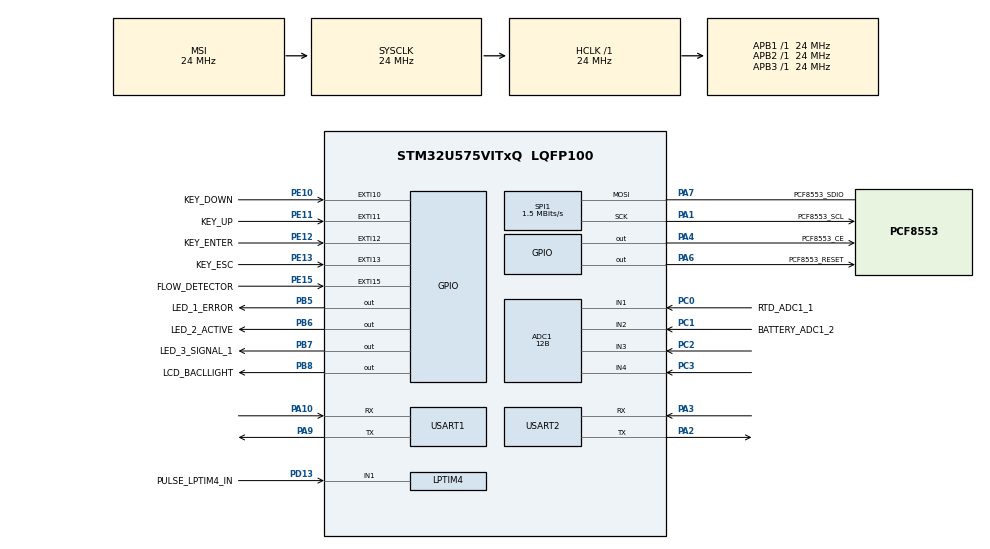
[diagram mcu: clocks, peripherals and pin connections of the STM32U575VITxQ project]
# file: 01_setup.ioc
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ADC1.Channel-0\#ChannelRegularConversion=ADC_CHANNEL_TEMPSENSOR
ADC1.ClockPrescaler=ADC_CLOCK_ASYNC_DIV2
ADC1.EnableRegularConversion=ENABLE
ADC1.MonitoredBy-0\#ChannelRegularConversion=__NULL
ADC1.NbrOfConversion=1
ADC1.NbrOfConversionFlag=1
ADC1.OffsetNumber-0\#ChannelRegularConversion=ADC_OFFSET_NONE
ADC1.Rank-0\#ChannelRegularConversion=1
ADC1.Resolution=ADC_RESOLUTION_12B
ADC1.SamplingTime-0\#ChannelRegularConversion=ADC_SAMPLETIME_391CYCLES_5
ADC1.master=1
CORTEX_M33_NS.userName=CORTEX_M33
LPTIM1.ClockPrescaler=LPTIM_PRESCALER_DIV16
Mcu.Family=STM32U5
Mcu.Name=STM32U575VITxQ
Mcu.Package=LQFP100
NVIC.EXTI10_IRQn=true\:0\:0\:false\:false\:true\:true\:true\:true
NVIC.EXTI11_IRQn=true\:0\:0\:false\:false\:true\:true\:true\:true
NVIC.EXTI12_IRQn=true\:0\:0\:false\:false\:true\:true\:true\:true
NVIC.EXTI13_IRQn=true\:0\:0\:false\:false\:true\:true\:true\:true
NVIC.LPTIM1_IRQn=true\:0\:0\:false\:false\:true\:true\:true\:true
NVIC.PriorityGroup=NVIC_PRIORITYGROUP_4
NVIC.RTC_IRQn=true\:0\:0\:false\:false\:true\:true\:true\:true
PA1.GPIO_Label=PCF8553_SCL
PA1.Mode=Simplex_Bidirectional_Master
PA1.Signal=SPI1_SCK
PA10.Mode=Asynchronous
PA10.Signal=USART1_RX
PA13\ (JTMS/SWDIO).Mode=Trace_Asynchronous_SW
PA13\ (JTMS/SWDIO).Signal=DEBUG_JTMS-SWDIO
PA14\ (JTCK/SWCLK).Mode=Trace_Asynchronous_SW
PA14\ (JTCK/SWCLK).Signal=DEBUG_JTCK-SWCLK
PA2.Mode=Asynchronous
PA2.Signal=USART2_TX
PA3.Mode=Asynchronous
PA3.Signal=USART2_RX
PA4.GPIO_Label=PCF8553_CE
PA4.Signal=GPIO_Output
PA6.GPIO_Label=PCF8553_RESET
PA6.Signal=GPIO_Output
PA7.GPIO_Label=PCF8553_SDIO
PA7.Mode=Simplex_Bidirectional_Master
PA7.Signal=SPI1_MOSI
PA9.Mode=Asynchronous
PA9.Signal=USART1_TX
PB3\ (JTDO/TRACESWO).Mode=Trace_Asynchronous_SW
PB3\ (JTDO/TRACESWO).Signal=DEBUG_JTDO-SWO
PB5.GPIO_Label=LED_1_ERROR
PB5.Signal=GPIO_Output
PB6.GPIO_Label=LED_2_ACTIVE
PB6.Signal=GPIO_Output
PB7.GPIO_Label=LED_3_SIGNAL_1
PB7.Signal=GPIO_Output
PB8.GPIO_Label=LCD_BACLLIGHT
PB8.Signal=GPIO_Output
PC0.GPIO_Label=RTD_ADC1_1
PC0.Mode=IN1-Single-Ended
PC0.Signal=ADC1_IN1
PC1.GPIO_Label=BATTERY_ADC1_2
PC1.Mode=IN2-Single-Ended
PC1.Signal=ADC1_IN2
PC14-OSC32_IN\ (PC14).Mode=LSE-External-Oscillator
PC14-OSC32_IN\ (PC14).Signal=RCC_OSC32_IN
PC15-OSC32_OUT\ (PC15).Mode=LSE-External-Oscillator
PC15-OSC32_OUT\ (PC15).Signal=RCC_OSC32_OUT
PC2.Mode=IN3-Single-Ended
PC2.Signal=ADC1_IN3
PC3.Mode=IN4-Single-Ended
PC3.Signal=ADC1_IN4
PD13.GPIO_Label=PULSE_LPTIM4_IN
PD13.Mode=Counts_external_clock_with_synchro_01_occur1
PD13.Signal=LPTIM4_IN1
PE10.GPIO_Label=KEY_DOWN
PE10.GPIO_ModeDefaultEXTI=GPIO_MODE_IT_FALLING
PE10.Signal=GPXTI10
PE11.GPIO_Label=KEY_UP
PE11.Signal=GPXTI11
PE12.GPIO_Label=KEY_ENTER
PE12.Signal=GPXTI12
PE13.GPIO_Label=KEY_ESC
PE13.Signal=GPXTI13
PE15.GPIO_Label=FLOW_DETECTOR
PE15.Signal=GPXTI15
PWR.PowerMode=PWR_SMPS_SUPPLY
ProjectManager.HeapSize=0x200
ProjectManager.StackSize=0x400
ProjectManager.TargetToolchain=STM32CubeIDE
RCC.ADCFreq_Value=16000000
RCC.AHBFreq_Value=24000000
RCC.APB1Freq_Value=24000000
RCC.APB1TimFreq_Value=24000000
RCC.APB2Freq_Value=24000000
RCC.APB2TimFreq_Value=24000000
RCC.APB3Freq_Value=24000000
RCC.CortexFreq_Value=24000000
RCC.EPOD_VALUE=24000000
RCC.HCLKFreq_Value=24000000
RCC.HSE_VALUE=16000000
RCC.HSI48_VALUE=48000000
RCC.HSI_VALUE=16000000
RCC.LSIDIV_VALUE=32000
RCC.MSIClockRange=RCC_MSIRANGE_1
RCC.MSIKClockRange=RCC_MSIKRANGE_1
RCC.MSI_VALUE=24000000
RCC.PLL1R=1
RCC.PLL2FRACN=0
RCC.PLL3FRACN=0
RCC.PLLFRACN=0
RCC.PLLM=3
RCC.PLLN=10
RCC.SYSCLKFreq_VALUE=24000000
RCC.USBFreq_Value=48000000
RCC.VCOOutputFreq_Value=80000000
RTC.BinMode=RTC_BINARY_NONE
RTC.Format=RTC_FORMAT_BIN
RTC.WakeUpCounter-WakeUp=4096
SPI1.BaudRatePrescaler=SPI_BAUDRATEPRESCALER_16
SPI1.CalculateBaudRate=1.5 MBits/s
SPI1.DataSize=SPI_DATASIZE_8BIT
SPI1.Direction=SPI_DIRECTION_1LINE
SPI1.Mode=SPI_MODE_MASTER
SPI1.NSSPMode=SPI_NSS_PULSE_DISABLE
SPI1.VirtualType=VM_MASTER
USART1.VirtualMode-Asynchronous=VM_ASYNC
USART2.VirtualMode-Asynchronous=VM_ASYNC
VP_ADC1_TempSens_Input.Mode=IN-TempSens
VP_ADC1_Vref_Input.Mode=IN-Vrefint
VP_ICACHE_VS_ICACHE.Mode=DirectMappedCache
VP_LPBAMQUEUE_VS_QUEUE.Mode=QUEUEMODE
VP_LPBAM_VS_SIG1.Mode=SmartRun
VP_LPBAM_VS_SIG4.Mode=LPDMA1
VP_LPTIM1_VS_LPTIM_counterModeInternalClock.Mode=Counts__internal_clock_event_00
VP_LPTIM3_VS_LPTIM_counterModeInternalClock.Mode=Counts__internal_clock_event_00
VP_MEMORYMAP_VS_MEMORYMAP.Mode=CurAppReg
VP_PWR_VS_DBSignals.Mode=DisableDeadBatterySignals
VP_PWR_VS_LPOM.Mode=PowerOptimisation
VP_PWR_VS_SECSignals.Mode=Security/Privilege
VP_PWR_Vdda.Mode=isolationVdda
VP_RTC_VS_RTC_Activate.Mode=RTC_Enabled
VP_RTC_VS_RTC_Calendar.Mode=RTC_Calendar
VP_RTC_VS_RTC_WakeUp_intern.Mode=WakeUp
board=custom

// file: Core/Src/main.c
/* USER CODE BEGIN Header */
/**
  ******************************************************************************
  * @file           : main.c
  * @brief          : Main program body
  ******************************************************************************
  * @attention
  *
  * 231223:
  * LED_1 para errores
  * - Nuevo coomentario en la funcion fm_debug_msg_uart
  * - fm_debug_msg_uart transmite salto de linea en lugar de terminador nulo
  * - fm_debug_msg_uart intenta
  *
  *
  *
  ******************************************************************************
  */
/* USER CODE END Header */
#include "main.h"

/* USER CODE BEGIN Includes */
#include "fm_debug.h"

/* USER CODE END Includes */

ADC_HandleTypeDef hadc1;

LPTIM_HandleTypeDef hlptim1;
LPTIM_HandleTypeDef hlptim3;
LPTIM_HandleTypeDef hlptim4;

RTC_HandleTypeDef hrtc;

SPI_HandleTypeDef hspi1;

UART_HandleTypeDef huart1;
UART_HandleTypeDef huart2;

/* USER CODE BEGIN PV */
int  key_counter = 0;

/* USER CODE END PV */

void SystemClock_Config(void);
static void SystemPower_Config(void);
static void MX_GPIO_Init(void);
static void MX_SPI1_Init(void);
static void MX_ADC1_Init(void);
static void MX_ICACHE_Init(void);
static void MX_LPTIM1_Init(void);
static void MX_LPTIM3_Init(void);
static void MX_LPTIM4_Init(void);
static void MX_RTC_Init(void);
static void MX_USART1_UART_Init(void);
static void MX_USART2_UART_Init(void);

int main(void)
{
  /* USER CODE BEGIN 1 */

	// El main tiene puede ejecutar diferentes rutinas, main_optio elige una.
	uint8_t main_option = 1;
	char buffer_msg[] = "flowmeet s.r.l.";

	int32_t counter = 0;

  /* USER CODE END 1 */

  /* MCU Configuration--------------------------------------------------------*/

  /* Reset of all peripherals, Initializes the Flash interface and the Systick. */
  HAL_Init();

  /* Configure the system clock */
  SystemClock_Config();

  /* Configure the System Power */
  SystemPower_Config();

  /* Initialize all configured peripherals */
  MX_GPIO_Init();
  MX_SPI1_Init();
  MX_ADC1_Init();
  MX_ICACHE_Init();
  MX_LPTIM1_Init();
  MX_LPTIM3_Init();
  MX_LPTIM4_Init();
  MX_RTC_Init();
  MX_USART1_UART_Init();
  MX_USART2_UART_Init();

  /* Infinite loop */
  /* USER CODE BEGIN WHILE */
  while (1)
  {
	  switch(main_option)
	  {
	  case 1:
		  // Envia un mensaje
		  //fm_debug_msg_uart(buffer_msg, sizeof(buffer_msg));

		  HAL_Delay(1000);
		  break;
	  case 2:
		  counter = key_counter;

		  while(counter == key_counter);

		  fm_debug_int32_uart(key_counter);

		  break;
	  default:
		  break;
	  }

    /* USER CODE END WHILE */

  }
}

void SystemClock_Config(void)
{
  RCC_OscInitTypeDef RCC_OscInitStruct = {0};
  RCC_ClkInitTypeDef RCC_ClkInitStruct = {0};

  /** Configure the main internal regulator output voltage
  */
  if (HAL_PWREx_ControlVoltageScaling(PWR_REGULATOR_VOLTAGE_SCALE4) != HAL_OK)
  {
    Error_Handler();
  }

  /** Initializes the CPU, AHB and APB buses clocks
  */
  RCC_OscInitStruct.OscillatorType = RCC_OSCILLATORTYPE_HSI|RCC_OSCILLATORTYPE_LSI
                              |RCC_OSCILLATORTYPE_MSI|RCC_OSCILLATORTYPE_MSIK;
  RCC_OscInitStruct.HSIState = RCC_HSI_ON;
  RCC_OscInitStruct.HSICalibrationValue = RCC_HSICALIBRATION_DEFAULT;
  RCC_OscInitStruct.LSIState = RCC_LSI_ON;
  RCC_OscInitStruct.MSIState = RCC_MSI_ON;
  RCC_OscInitStruct.MSICalibrationValue = RCC_MSICALIBRATION_DEFAULT;
  RCC_OscInitStruct.MSIClockRange = RCC_MSIRANGE_1;
  RCC_OscInitStruct.LSIDiv = RCC_LSI_DIV1;
  RCC_OscInitStruct.MSIKClockRange = RCC_MSIKRANGE_1;
  RCC_OscInitStruct.MSIKState = RCC_MSIK_ON;
  RCC_OscInitStruct.PLL.PLLState = RCC_PLL_NONE;
  if (HAL_RCC_OscConfig(&RCC_OscInitStruct) != HAL_OK)
  {
    Error_Handler();
  }

  /** Initializes the CPU, AHB and APB buses clocks
  */
  RCC_ClkInitStruct.ClockType = RCC_CLOCKTYPE_HCLK|RCC_CLOCKTYPE_SYSCLK
                              |RCC_CLOCKTYPE_PCLK1|RCC_CLOCKTYPE_PCLK2
                              |RCC_CLOCKTYPE_PCLK3;
  RCC_ClkInitStruct.SYSCLKSource = RCC_SYSCLKSOURCE_MSI;
  RCC_ClkInitStruct.AHBCLKDivider = RCC_SYSCLK_DIV1;
  RCC_ClkInitStruct.APB1CLKDivider = RCC_HCLK_DIV1;
  RCC_ClkInitStruct.APB2CLKDivider = RCC_HCLK_DIV1;
  RCC_ClkInitStruct.APB3CLKDivider = RCC_HCLK_DIV1;

  if (HAL_RCC_ClockConfig(&RCC_ClkInitStruct, FLASH_LATENCY_1) != HAL_OK)
  {
    Error_Handler();
  }

  /** Enable the force of MSIK in stop mode
  */
  __HAL_RCC_MSIKSTOP_ENABLE();
}

/**
  * @brief Power Configuration
  * @retval None
  */
static void SystemPower_Config(void)
{

  /*
   * Disable the internal Pull-Up in Dead Battery pins of UCPD peripheral
   */
  HAL_PWREx_DisableUCPDDeadBattery();

  /*
   * Switch to SMPS regulator instead of LDO
   */
  if (HAL_PWREx_ConfigSupply(PWR_SMPS_SUPPLY) != HAL_OK)
  {
    Error_Handler();
  }
}

static void MX_ADC1_Init(void)
{

  ADC_ChannelConfTypeDef sConfig = {0};

  /** Common config
  */
  hadc1.Instance = ADC1;
  hadc1.Init.ClockPrescaler = ADC_CLOCK_ASYNC_DIV2;
  hadc1.Init.Resolution = ADC_RESOLUTION_12B;
  hadc1.Init.GainCompensation = 0;
  hadc1.Init.ScanConvMode = ADC_SCAN_DISABLE;
  hadc1.Init.EOCSelection = ADC_EOC_SINGLE_CONV;
  hadc1.Init.LowPowerAutoWait = DISABLE;
  hadc1.Init.ContinuousConvMode = DISABLE;
  hadc1.Init.NbrOfConversion = 1;
  hadc1.Init.DiscontinuousConvMode = DISABLE;
  hadc1.Init.ExternalTrigConv = ADC_SOFTWARE_START;
  hadc1.Init.ExternalTrigConvEdge = ADC_EXTERNALTRIGCONVEDGE_NONE;
  hadc1.Init.DMAContinuousRequests = DISABLE;
  hadc1.Init.TriggerFrequencyMode = ADC_TRIGGER_FREQ_HIGH;
  hadc1.Init.Overrun = ADC_OVR_DATA_PRESERVED;
  hadc1.Init.LeftBitShift = ADC_LEFTBITSHIFT_NONE;
  hadc1.Init.ConversionDataManagement = ADC_CONVERSIONDATA_DR;
  hadc1.Init.OversamplingMode = DISABLE;
  if (HAL_ADC_Init(&hadc1) != HAL_OK)
  {
    Error_Handler();
  }

  /** Configure Regular Channel
  */
  sConfig.Channel = ADC_CHANNEL_TEMPSENSOR;
  sConfig.Rank = ADC_REGULAR_RANK_1;
  sConfig.SamplingTime = ADC_SAMPLETIME_391CYCLES_5;
  sConfig.SingleDiff = ADC_SINGLE_ENDED;
  sConfig.OffsetNumber = ADC_OFFSET_NONE;
  sConfig.Offset = 0;
  if (HAL_ADC_ConfigChannel(&hadc1, &sConfig) != HAL_OK)
  {
    Error_Handler();
  }

}

static void MX_ICACHE_Init(void)
{

  /** Enable instruction cache in 1-way (direct mapped cache)
  */
  if (HAL_ICACHE_ConfigAssociativityMode(ICACHE_1WAY) != HAL_OK)
  {
    Error_Handler();
  }
  if (HAL_ICACHE_Enable() != HAL_OK)
  {
    Error_Handler();
  }

}

static void MX_LPTIM1_Init(void)
{

  hlptim1.Instance = LPTIM1;
  hlptim1.Init.Clock.Source = LPTIM_CLOCKSOURCE_APBCLOCK_LPOSC;
  hlptim1.Init.Clock.Prescaler = LPTIM_PRESCALER_DIV16;
  hlptim1.Init.Trigger.Source = LPTIM_TRIGSOURCE_SOFTWARE;
  hlptim1.Init.Period = 65535;
  hlptim1.Init.UpdateMode = LPTIM_UPDATE_IMMEDIATE;
  hlptim1.Init.CounterSource = LPTIM_COUNTERSOURCE_INTERNAL;
  hlptim1.Init.Input1Source = LPTIM_INPUT1SOURCE_GPIO;
  hlptim1.Init.Input2Source = LPTIM_INPUT2SOURCE_GPIO;
  hlptim1.Init.RepetitionCounter = 0;
  if (HAL_LPTIM_Init(&hlptim1) != HAL_OK)
  {
    Error_Handler();
  }

}

static void MX_LPTIM3_Init(void)
{

  hlptim3.Instance = LPTIM3;
  hlptim3.Init.Clock.Source = LPTIM_CLOCKSOURCE_APBCLOCK_LPOSC;
  hlptim3.Init.Clock.Prescaler = LPTIM_PRESCALER_DIV1;
  hlptim3.Init.Trigger.Source = LPTIM_TRIGSOURCE_SOFTWARE;
  hlptim3.Init.Period = 65535;
  hlptim3.Init.UpdateMode = LPTIM_UPDATE_IMMEDIATE;
  hlptim3.Init.CounterSource = LPTIM_COUNTERSOURCE_INTERNAL;
  hlptim3.Init.Input1Source = LPTIM_INPUT1SOURCE_GPIO;
  hlptim3.Init.Input2Source = LPTIM_INPUT2SOURCE_GPIO;
  hlptim3.Init.RepetitionCounter = 0;
  if (HAL_LPTIM_Init(&hlptim3) != HAL_OK)
  {
    Error_Handler();
  }

}

static void MX_LPTIM4_Init(void)
{

  hlptim4.Instance = LPTIM4;
  hlptim4.Init.Clock.Source = LPTIM_CLOCKSOURCE_APBCLOCK_LPOSC;
  hlptim4.Init.Clock.Prescaler = LPTIM_PRESCALER_DIV1;
  hlptim4.Init.UltraLowPowerClock.Polarity = LPTIM_CLOCKPOLARITY_RISING;
  hlptim4.Init.UltraLowPowerClock.SampleTime = LPTIM_CLOCKSAMPLETIME_DIRECTTRANSITION;
  hlptim4.Init.Trigger.Source = LPTIM_TRIGSOURCE_SOFTWARE;
  hlptim4.Init.Period = 65535;
  hlptim4.Init.UpdateMode = LPTIM_UPDATE_IMMEDIATE;
  hlptim4.Init.CounterSource = LPTIM_COUNTERSOURCE_EXTERNAL;
  hlptim4.Init.Input1Source = LPTIM_INPUT1SOURCE_GPIO;
  hlptim4.Init.Input2Source = LPTIM_INPUT2SOURCE_GPIO;
  hlptim4.Init.RepetitionCounter = 0;
  if (HAL_LPTIM_Init(&hlptim4) != HAL_OK)
  {
    Error_Handler();
  }

}

static void MX_RTC_Init(void)
{

  RTC_PrivilegeStateTypeDef privilegeState = {0};
  RTC_TimeTypeDef sTime = {0};
  RTC_DateTypeDef sDate = {0};

  /** Initialize RTC Only
  */
  hrtc.Instance = RTC;
  hrtc.Init.HourFormat = RTC_HOURFORMAT_24;
  hrtc.Init.AsynchPrediv = 127;
  hrtc.Init.SynchPrediv = 255;
  hrtc.Init.OutPut = RTC_OUTPUT_DISABLE;
  hrtc.Init.OutPutRemap = RTC_OUTPUT_REMAP_NONE;
  hrtc.Init.OutPutPolarity = RTC_OUTPUT_POLARITY_HIGH;
  hrtc.Init.OutPutType = RTC_OUTPUT_TYPE_OPENDRAIN;
  hrtc.Init.OutPutPullUp = RTC_OUTPUT_PULLUP_NONE;
  hrtc.Init.BinMode = RTC_BINARY_NONE;
  if (HAL_RTC_Init(&hrtc) != HAL_OK)
  {
    Error_Handler();
  }
  privilegeState.rtcPrivilegeFull = RTC_PRIVILEGE_FULL_NO;
  privilegeState.backupRegisterPrivZone = RTC_PRIVILEGE_BKUP_ZONE_NONE;
  privilegeState.backupRegisterStartZone2 = RTC_BKP_DR0;
  privilegeState.backupRegisterStartZone3 = RTC_BKP_DR0;
  if (HAL_RTCEx_PrivilegeModeSet(&hrtc, &privilegeState) != HAL_OK)
  {
    Error_Handler();
  }

  /** Initialize RTC and set the Time and Date
  */
  sTime.Hours = 0;
  sTime.Minutes = 0;
  sTime.Seconds = 0;
  sTime.DayLightSaving = RTC_DAYLIGHTSAVING_NONE;
  sTime.StoreOperation = RTC_STOREOPERATION_RESET;
  if (HAL_RTC_SetTime(&hrtc, &sTime, RTC_FORMAT_BIN) != HAL_OK)
  {
    Error_Handler();
  }
  sDate.WeekDay = RTC_WEEKDAY_MONDAY;
  sDate.Month = RTC_MONTH_JANUARY;
  sDate.Date = 1;
  sDate.Year = 0;

  if (HAL_RTC_SetDate(&hrtc, &sDate, RTC_FORMAT_BIN) != HAL_OK)
  {
    Error_Handler();
  }

  /** Enable the WakeUp
  */
  if (HAL_RTCEx_SetWakeUpTimer_IT(&hrtc, 4096, RTC_WAKEUPCLOCK_RTCCLK_DIV16, 0) != HAL_OK)
  {
    Error_Handler();
  }

}

static void MX_SPI1_Init(void)
{

  SPI_AutonomousModeConfTypeDef HAL_SPI_AutonomousMode_Cfg_Struct = {0};

  /* SPI1 parameter configuration*/
  hspi1.Instance = SPI1;
  hspi1.Init.Mode = SPI_MODE_MASTER;
  hspi1.Init.Direction = SPI_DIRECTION_1LINE;
  hspi1.Init.DataSize = SPI_DATASIZE_8BIT;
  hspi1.Init.CLKPolarity = SPI_POLARITY_LOW;
  hspi1.Init.CLKPhase = SPI_PHASE_1EDGE;
  hspi1.Init.NSS = SPI_NSS_SOFT;
  hspi1.Init.BaudRatePrescaler = SPI_BAUDRATEPRESCALER_16;
  hspi1.Init.FirstBit = SPI_FIRSTBIT_MSB;
  hspi1.Init.TIMode = SPI_TIMODE_DISABLE;
  hspi1.Init.CRCCalculation = SPI_CRCCALCULATION_DISABLE;
  hspi1.Init.CRCPolynomial = 0x7;
  hspi1.Init.NSSPMode = SPI_NSS_PULSE_DISABLE;
  hspi1.Init.NSSPolarity = SPI_NSS_POLARITY_LOW;
  hspi1.Init.FifoThreshold = SPI_FIFO_THRESHOLD_01DATA;
  hspi1.Init.MasterSSIdleness = SPI_MASTER_SS_IDLENESS_00CYCLE;
  hspi1.Init.MasterInterDataIdleness = SPI_MASTER_INTERDATA_IDLENESS_00CYCLE;
  hspi1.Init.MasterReceiverAutoSusp = SPI_MASTER_RX_AUTOSUSP_DISABLE;
  hspi1.Init.MasterKeepIOState = SPI_MASTER_KEEP_IO_STATE_DISABLE;
  hspi1.Init.IOSwap = SPI_IO_SWAP_DISABLE;
  hspi1.Init.ReadyMasterManagement = SPI_RDY_MASTER_MANAGEMENT_INTERNALLY;
  hspi1.Init.ReadyPolarity = SPI_RDY_POLARITY_HIGH;
  if (HAL_SPI_Init(&hspi1) != HAL_OK)
  {
    Error_Handler();
  }
  HAL_SPI_AutonomousMode_Cfg_Struct.TriggerState = SPI_AUTO_MODE_DISABLE;
  HAL_SPI_AutonomousMode_Cfg_Struct.TriggerSelection = SPI_GRP1_GPDMA_CH0_TCF_TRG;
  HAL_SPI_AutonomousMode_Cfg_Struct.TriggerPolarity = SPI_TRIG_POLARITY_RISING;
  if (HAL_SPIEx_SetConfigAutonomousMode(&hspi1, &HAL_SPI_AutonomousMode_Cfg_Struct) != HAL_OK)
  {
    Error_Handler();
  }

}

static void MX_USART1_UART_Init(void)
{

  huart1.Instance = USART1;
  huart1.Init.BaudRate = 115200;
  huart1.Init.WordLength = UART_WORDLENGTH_8B;
  huart1.Init.StopBits = UART_STOPBITS_1;
  huart1.Init.Parity = UART_PARITY_NONE;
  huart1.Init.Mode = UART_MODE_TX_RX;
  huart1.Init.HwFlowCtl = UART_HWCONTROL_NONE;
  huart1.Init.OverSampling = UART_OVERSAMPLING_16;
  huart1.Init.OneBitSampling = UART_ONE_BIT_SAMPLE_DISABLE;
  huart1.Init.ClockPrescaler = UART_PRESCALER_DIV1;
  huart1.AdvancedInit.AdvFeatureInit = UART_ADVFEATURE_NO_INIT;
  if (HAL_UART_Init(&huart1) != HAL_OK)
  {
    Error_Handler();
  }
  if (HAL_UARTEx_SetTxFifoThreshold(&huart1, UART_TXFIFO_THRESHOLD_1_8) != HAL_OK)
  {
    Error_Handler();
  }
  if (HAL_UARTEx_SetRxFifoThreshold(&huart1, UART_RXFIFO_THRESHOLD_1_8) != HAL_OK)
  {
    Error_Handler();
  }
  if (HAL_UARTEx_DisableFifoMode(&huart1) != HAL_OK)
  {
    Error_Handler();
  }

}

static void MX_USART2_UART_Init(void)
{

  huart2.Instance = USART2;
  huart2.Init.BaudRate = 115200;
  huart2.Init.WordLength = UART_WORDLENGTH_8B;
  huart2.Init.StopBits = UART_STOPBITS_1;
  huart2.Init.Parity = UART_PARITY_NONE;
  huart2.Init.Mode = UART_MODE_TX_RX;
  huart2.Init.HwFlowCtl = UART_HWCONTROL_NONE;
  huart2.Init.OverSampling = UART_OVERSAMPLING_16;
  huart2.Init.OneBitSampling = UART_ONE_BIT_SAMPLE_DISABLE;
  huart2.Init.ClockPrescaler = UART_PRESCALER_DIV1;
  huart2.AdvancedInit.AdvFeatureInit = UART_ADVFEATURE_NO_INIT;
  if (HAL_UART_Init(&huart2) != HAL_OK)
  {
    Error_Handler();
  }
  if (HAL_UARTEx_SetTxFifoThreshold(&huart2, UART_TXFIFO_THRESHOLD_1_8) != HAL_OK)
  {
    Error_Handler();
  }
  if (HAL_UARTEx_SetRxFifoThreshold(&huart2, UART_RXFIFO_THRESHOLD_1_8) != HAL_OK)
  {
    Error_Handler();
  }
  if (HAL_UARTEx_DisableFifoMode(&huart2) != HAL_OK)
  {
    Error_Handler();
  }

}

static void MX_GPIO_Init(void)
{
  GPIO_InitTypeDef GPIO_InitStruct = {0};

  /* GPIO Ports Clock Enable */
  __HAL_RCC_GPIOC_CLK_ENABLE();
  __HAL_RCC_GPIOA_CLK_ENABLE();
  __HAL_RCC_GPIOE_CLK_ENABLE();
  __HAL_RCC_GPIOD_CLK_ENABLE();
  __HAL_RCC_GPIOB_CLK_ENABLE();

  /*Configure GPIO pin Output Level */
  HAL_GPIO_WritePin(GPIOA, PCF8553_CE_Pin|PCF8553_RESET_Pin, GPIO_PIN_RESET);

  /*Configure GPIO pin Output Level */
  HAL_GPIO_WritePin(GPIOB, LED_1_ERROR_Pin|LED_2_ACTIVE_Pin|LED_3_SIGNAL_1_Pin|LCD_BACLLIGHT_Pin, GPIO_PIN_RESET);

  /*Configure GPIO pins : PCF8553_CE_Pin PCF8553_RESET_Pin */
  GPIO_InitStruct.Pin = PCF8553_CE_Pin|PCF8553_RESET_Pin;
  GPIO_InitStruct.Mode = GPIO_MODE_OUTPUT_PP;
  GPIO_InitStruct.Pull = GPIO_NOPULL;
  GPIO_InitStruct.Speed = GPIO_SPEED_FREQ_LOW;
  HAL_GPIO_Init(GPIOA, &GPIO_InitStruct);

  /*Configure GPIO pin : KEY_DOWN_Pin */
  GPIO_InitStruct.Pin = KEY_DOWN_Pin;
  GPIO_InitStruct.Mode = GPIO_MODE_IT_FALLING;
  GPIO_InitStruct.Pull = GPIO_NOPULL;
  HAL_GPIO_Init(KEY_DOWN_GPIO_Port, &GPIO_InitStruct);

  /*Configure GPIO pins : KEY_UP_Pin KEY_ENTER_Pin KEY_ESC_Pin FLOW_DETECTOR_Pin */
  GPIO_InitStruct.Pin = KEY_UP_Pin|KEY_ENTER_Pin|KEY_ESC_Pin|FLOW_DETECTOR_Pin;
  GPIO_InitStruct.Mode = GPIO_MODE_IT_RISING;
  GPIO_InitStruct.Pull = GPIO_NOPULL;
  HAL_GPIO_Init(GPIOE, &GPIO_InitStruct);

  /*Configure GPIO pins : LED_1_ERROR_Pin LED_2_ACTIVE_Pin LED_3_SIGNAL_1_Pin LCD_BACLLIGHT_Pin */
  GPIO_InitStruct.Pin = LED_1_ERROR_Pin|LED_2_ACTIVE_Pin|LED_3_SIGNAL_1_Pin|LCD_BACLLIGHT_Pin;
  GPIO_InitStruct.Mode = GPIO_MODE_OUTPUT_PP;
  GPIO_InitStruct.Pull = GPIO_NOPULL;
  GPIO_InitStruct.Speed = GPIO_SPEED_FREQ_LOW;
  HAL_GPIO_Init(GPIOB, &GPIO_InitStruct);

  /* EXTI interrupt init*/
  HAL_NVIC_SetPriority(EXTI10_IRQn, 0, 0);
  HAL_NVIC_EnableIRQ(EXTI10_IRQn);

  HAL_NVIC_SetPriority(EXTI11_IRQn, 0, 0);
  HAL_NVIC_EnableIRQ(EXTI11_IRQn);

  HAL_NVIC_SetPriority(EXTI12_IRQn, 0, 0);
  HAL_NVIC_EnableIRQ(EXTI12_IRQn);

  HAL_NVIC_SetPriority(EXTI13_IRQn, 0, 0);
  HAL_NVIC_EnableIRQ(EXTI13_IRQn);

}

void Error_Handler(void)
{
  __disable_irq();
  while (1)
  {
  }
}
